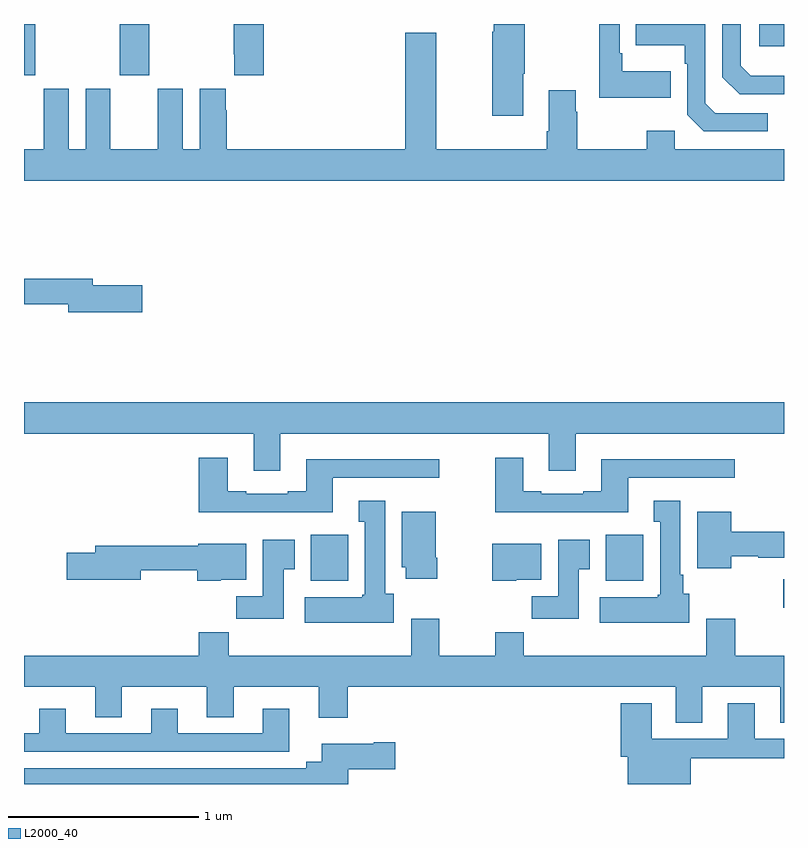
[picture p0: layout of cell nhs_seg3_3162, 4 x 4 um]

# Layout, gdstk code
import gdstk
lib = gdstk.Library(unit=1e-6, precision=1e-09)
def R(c, l, rs):  # rectangles x0, y0, x1, y1
    for r in rs: c.add(gdstk.rectangle(r[:2], r[2:], *l))
def P(c, l, *ps):  # polygons
    for p in ps: c.add(gdstk.Polygon(p, *l))
L2000_40 = (2000, 40)

nhs_seg3_3162 = lib.new_cell('nhs_seg3_3162')
R(nhs_seg3_3162, L2000_40, [(278.996,705.327,279,705.477), (276.509,705.47,276.706,705.712), (278.063,705.47,278.26,705.712), (275,708.129,275.058,708.4), (275.503,708.129,275.658,708.4), (278.871,708.284,279,708.4)])
P(nhs_seg3_3162, L2000_40, [(276.263,708.4),(276.103,708.4),(276.103,708.241),(276.107,708.241),(276.107,708.129),(276.263,708.129)],
  [(277.627,708.139),(277.635,708.139),(277.635,708.4),(277.472,708.4),(277.472,708.359),(277.465,708.359),(277.465,707.916),(277.627,707.916)],
  [(279,708.127),(278.825,708.127),(278.772,708.18),(278.772,708.4),(278.676,708.4),(278.676,708.12),(278.766,708.03),(279,708.03)],
  [(278.914,707.931),(278.637,707.931),(278.586,707.982),(278.586,708.4),(278.221,708.4),(278.221,708.287),(278.478,708.287),(278.478,708.191),(278.49,708.191),(278.49,707.922),(278.577,707.835),(278.914,707.835)],
  [(278.405,708.151),(278.149,708.151),(278.149,708.247),(278.136,708.247),(278.136,708.4),(278.028,708.4),(278.028,708.011),(278.405,708.011)],
  [(275.324,708.058),(275.324,707.74),(275.236,707.74),(275.236,708.058),(275.105,708.058),(275.105,707.74),(275,707.74),(275,707.576),(279,707.576),(279,707.74),(278.424,707.74),(278.424,707.839),(278.278,707.839),(278.278,707.74),(277.911,707.74),(277.911,707.939),(277.903,707.939),(277.903,708.052),(277.763,708.052),(277.763,707.836),(277.751,707.836),(277.751,707.74),(277.171,707.74),(277.171,708.355),(277.007,708.355),(277.007,707.74),(276.068,707.74),(276.068,707.945),(276.061,707.945),(276.061,708.058),(275.924,708.058),(275.924,707.74),(275.836,707.74),(275.836,708.058),(275.705,708.058),(275.705,707.74),(275.455,707.74),(275.455,708.058)],
  [(275.623,707.024),(275.362,707.024),(275.362,707.06),(275,707.06),(275,706.924),(275.234,706.924),(275.234,706.882),(275.623,706.882)],
  [(276.349,706.244),(277.763,706.244),(277.763,706.05),(277.903,706.05),(277.903,706.244),(279,706.244),(279,706.408),(275,706.408),(275,706.244),(276.209,706.244),(276.209,706.05),(276.349,706.05)],
  [(276.625,706.011),(277.186,706.011),(277.186,706.108),(276.485,706.108),(276.485,705.94),(276.389,705.94),(276.389,705.927),(276.169,705.927),(276.169,705.94),(276.073,705.94),(276.073,706.117),(275.921,706.117),(275.921,705.83),(276.625,705.83)],
  [(278.179,706.011),(278.74,706.011),(278.74,706.108),(278.039,706.108),(278.039,705.94),(277.943,705.94),(277.943,705.927),(277.723,705.927),(277.723,705.94),(277.627,705.94),(277.627,706.117),(277.48,706.117),(277.48,705.83),(278.179,705.83)],
  [(278.5,705.402),(278.47,705.402),(278.47,705.502),(278.455,705.502),(278.455,705.892),(278.315,705.892),(278.315,705.779),(278.348,705.779),(278.348,705.396),(278.335,705.396),(278.335,705.382),(278.031,705.382),(278.031,705.248),(278.5,705.248)],
  [(276.946,705.402),(276.901,705.402),(276.901,705.892),(276.761,705.892),(276.761,705.779),(276.794,705.779),(276.794,705.396),(276.781,705.396),(276.781,705.382),(276.477,705.382),(276.477,705.248),(276.946,705.248)],
  [(277.176,705.592),(277.168,705.592),(277.168,705.832),(276.989,705.832),(276.989,705.54),(277.01,705.54),(277.01,705.48),(277.176,705.48)],
  [(278.722,705.6),(278.865,705.6),(278.865,705.592),(279,705.592),(279,705.728),(278.722,705.728),(278.722,705.832),(278.543,705.832),(278.543,705.536),(278.722,705.536)],
  [(276.367,705.529),(276.424,705.529),(276.424,705.685),(276.257,705.685),(276.257,705.388),(276.118,705.388),(276.118,705.27),(276.367,705.27)],
  [(277.921,705.529),(277.978,705.529),(277.978,705.685),(277.811,705.685),(277.811,705.388),(277.672,705.388),(277.672,705.27),(277.921,705.27)],
  [(277.59,705.476),(277.723,705.476),(277.723,705.664),(277.465,705.664),(277.465,705.47),(277.59,705.47)],
  [(276.036,705.476),(276.169,705.476),(276.169,705.664),(275.918,705.664),(275.918,705.653),(275.375,705.653),(275.375,705.617),(275.226,705.617),(275.226,705.475),(275.614,705.475),(275.614,705.525),(275.911,705.525),(275.911,705.47),(276.036,705.47)],
  [(276.077,705.2),(275.921,705.2),(275.921,705.076),(275,705.076),(275,704.912),(275.375,704.912),(275.375,704.752),(275.515,704.752),(275.515,704.912),(275.963,704.912),(275.963,704.752),(276.103,704.752),(276.103,704.912),(276.551,704.912),(276.551,704.748),(276.704,704.748),(276.704,704.912),(278.429,704.912),(278.429,704.722),(278.569,704.722),(278.569,704.912),(278.981,704.912),(278.981,704.722),(279,704.722),(279,705.076),(278.744,705.076),(278.744,705.271),(278.591,705.271),(278.591,705.076),(277.631,705.076),(277.631,705.2),(277.48,705.2),(277.48,705.076),(277.185,705.076),(277.185,705.271),(277.037,705.271),(277.037,705.076),(276.077,705.076)],
  [(278.509,704.536),(279,704.536),(279,704.637),(278.845,704.637),(278.845,704.824),(278.705,704.824),(278.705,704.637),(278.305,704.637),(278.305,704.824),(278.141,704.824),(278.141,704.544),(278.177,704.544),(278.177,704.4),(278.509,704.4)],
  [(276.397,704.797),(276.257,704.797),(276.257,704.667),(275.809,704.667),(275.809,704.797),(275.669,704.797),(275.669,704.667),(275.221,704.667),(275.221,704.797),(275.081,704.797),(275.081,704.667),(275,704.667),(275,704.571),(276.397,704.571)],
  [(276.706,704.477),(276.955,704.477),(276.955,704.619),(276.842,704.619),(276.842,704.611),(276.566,704.611),(276.566,704.518),(276.485,704.518),(276.485,704.482),(275,704.482),(275,704.4),(276.706,704.4)])

lib.write_gds('nhs_seg3_3162.gds')
